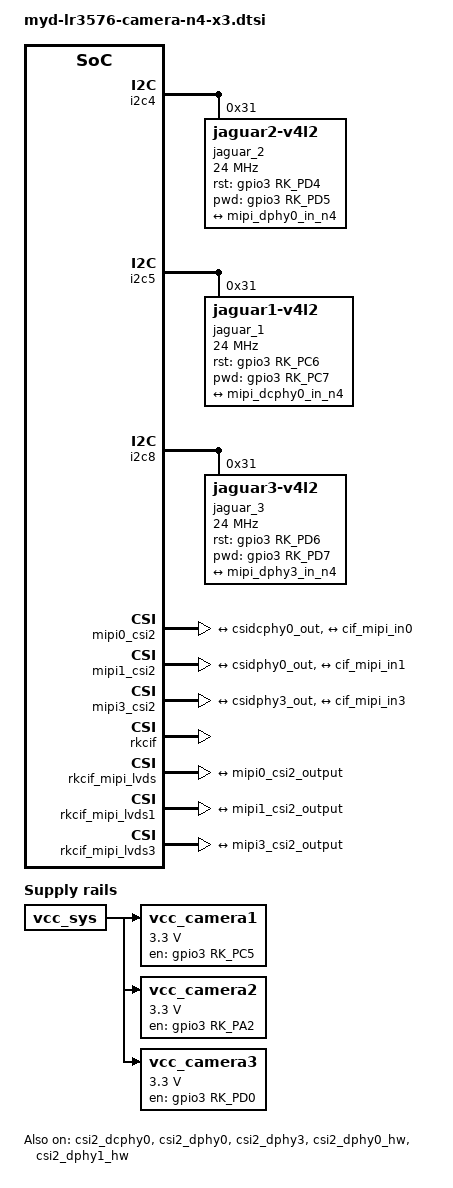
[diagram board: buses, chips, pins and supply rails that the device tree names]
// SPDX-License-Identifier: (GPL-2.0+ OR MIT)
/*
 * Copyright (c) 2024 MYIR Electronics Co., Ltd.
 *
 */

/ {
	vcc_camera1: vcc-camera1 {
		compatible = "regulator-fixed";
		regulator-name = "vcc_camera1";
		regulator-boot-on;
		regulator-always-on;
		regulator-min-microvolt = <3300000>;
		regulator-max-microvolt = <3300000>;
		enable-active-high;
		gpio = <&gpio3 RK_PC5 GPIO_ACTIVE_HIGH>;
		pinctrl-names = "default";
		pinctrl-0 = <&camera1_pwr>;
		vin-supply = <&vcc_sys>;
	};

	clk_camera1_fixed: clock {
		compatible = "fixed-clock";
		#clock-cells = <0>;
		clock-frequency = <24000000>;
		clock-output-names = "CLK_CAMERA1_24MHZ";
	};

	vcc_camera2: vcc-camera2 {
		compatible = "regulator-fixed";
		regulator-name = "vcc_camera2";
		regulator-boot-on;
		regulator-always-on;
		regulator-min-microvolt = <3300000>;
		regulator-max-microvolt = <3300000>;
		enable-active-high;
		gpio = <&gpio3 RK_PA2 GPIO_ACTIVE_HIGH>;
		pinctrl-names = "default";
		pinctrl-0 = <&camera2_pwr>;
		vin-supply = <&vcc_sys>;
	};

	clk_camera2_fixed: clock {
		compatible = "fixed-clock";
		#clock-cells = <0>;
		clock-frequency = <24000000>;
		clock-output-names = "CLK_CAMERA2_24MHZ";
	};

	vcc_camera3: vcc-camera3 {
		compatible = "regulator-fixed";
		regulator-name = "vcc_camera3";
		regulator-boot-on;
		regulator-always-on;
		regulator-min-microvolt = <3300000>;
		regulator-max-microvolt = <3300000>;
		enable-active-high;
		gpio = <&gpio3 RK_PD0 GPIO_ACTIVE_HIGH>;
		pinctrl-names = "default";
		pinctrl-0 = <&camera3_pwr>;
		vin-supply = <&vcc_sys>;
	};

	clk_camera3_fixed: clock {
		compatible = "fixed-clock";
		#clock-cells = <0>;
		clock-frequency = <24000000>;
		clock-output-names = "CLK_CAMERA3_24MHZ";
	};
};

&csi2_dcphy0 {
	status = "okay";

	ports {
		#address-cells = <1>;
		#size-cells = <0>;
		port@0 {
			reg = <0>;
			#address-cells = <1>;
			#size-cells = <0>;

			mipi_dcphy0_in_n4: endpoint@1 {
				reg = <1>;
				remote-endpoint = <&n4_out1>;
				data-lanes = <1 2 3 4>;
			};
		};
		port@1 {
			reg = <1>;
			#address-cells = <1>;
			#size-cells = <0>;

			csidcphy0_out: endpoint@0 {
				reg = <0>;
				remote-endpoint = <&mipi0_csi2_input>;
			};
		};
	};
};

&csi2_dphy0 {
	status = "okay";

	ports {
		#address-cells = <1>;
		#size-cells = <0>;
		port@0 {
			reg = <0>;
			#address-cells = <1>;
			#size-cells = <0>;

			mipi_dphy0_in_n4: endpoint@1 {
				reg = <1>;
				remote-endpoint = <&n4_out2>;
				data-lanes = <1 2 3 4>;
			};
		};
		port@1 {
			reg = <1>;
			#address-cells = <1>;
			#size-cells = <0>;

			csidphy0_out: endpoint@0 {
				reg = <0>;
				remote-endpoint = <&mipi1_csi2_input>;
			};
		};
	};
};

&csi2_dphy3 {
	status = "okay";

	ports {
		#address-cells = <1>;
		#size-cells = <0>;
		port@0 {
			reg = <0>;
			#address-cells = <1>;
			#size-cells = <0>;

			mipi_dphy3_in_n4: endpoint@1 {
				reg = <1>;
				remote-endpoint = <&n4_out3>;
				data-lanes = <1 2 3 4>;
			};
		};
		port@1 {
			reg = <1>;
			#address-cells = <1>;
			#size-cells = <0>;

			csidphy3_out: endpoint@0 {
				reg = <0>;
				remote-endpoint = <&mipi3_csi2_input>;
			};
		};
	};
};

&csi2_dphy0_hw {
	status = "okay";
};

&csi2_dphy1_hw {
	status = "okay";
};

&i2c4 {
	status = "okay";
	pinctrl-names = "default";
	pinctrl-0 = <&i2c4m3_xfer>;

	jaguar_2: jaguar-2@31 {
		status = "okay";
		compatible = "jaguar2-v4l2";
		reg = <0x31>;
		clocks = <&clk_camera2_fixed>;
		clock-names = "xvclk";
		clock-frequency = <24000000>;
		power-domains = <&power RK3576_PD_VI>;
		pinctrl-names = "default";
		pinctrl-0 = <&camera2_default_pins>;
		rst-gpios = <&gpio3 RK_PD4 GPIO_ACTIVE_HIGH>;
		pwd-gpios = <&gpio3 RK_PD5 GPIO_ACTIVE_HIGH>;
		rockchip,camera-module-index = <0>;
		rockchip,camera-module-facing = "back";
		rockchip,camera-module-name = "default";
		rockchip,camera-module-lens-name = "default";
		rockchip,default_rect= <1920 1080>; // default resolution
		port {
			n4_out2: endpoint {
				remote-endpoint = <&mipi_dphy0_in_n4>;
				data-lanes = <1 2 3 4>;
			};
		};
	};
};

&i2c5 {
	status = "okay";
	pinctrl-names = "default";
	pinctrl-0 = <&i2c5m3_xfer>;

	jaguar_1: jaguar-1@31 {
		status = "okay";
		compatible = "jaguar1-v4l2";
		reg = <0x31>;
		clocks = <&clk_camera1_fixed>;
		clock-names = "xvclk";
		clock-frequency = <24000000>;
		power-domains = <&power RK3576_PD_VI>;
		pinctrl-names = "default";
		pinctrl-0 = <&camera1_default_pins>;
		rst-gpios = <&gpio3 RK_PC6 GPIO_ACTIVE_HIGH>;
		pwd-gpios = <&gpio3 RK_PC7 GPIO_ACTIVE_HIGH>;
		rockchip,camera-module-index = <0>;
		rockchip,camera-module-facing = "back";
		rockchip,camera-module-name = "default";
		rockchip,camera-module-lens-name = "default";
		rockchip,default_rect= <1920 1080>; // default resolution
		port {
			n4_out1: endpoint {
				remote-endpoint = <&mipi_dcphy0_in_n4>;
				data-lanes = <1 2 3 4>;
			};
		};
	};
};

&i2c8 {
	status = "okay";
	pinctrl-names = "default";
	pinctrl-0 = <&i2c8m2_xfer>;

	jaguar_3: jaguar-3@31 {
		status = "okay";
		compatible = "jaguar3-v4l2";
		reg = <0x31>;
		clocks = <&clk_camera3_fixed>;
		clock-names = "xvclk";
		clock-frequency = <24000000>;
		power-domains = <&power RK3576_PD_VI>;
		pinctrl-names = "default";
		pinctrl-0 = <&camera3_default_pins>;
		rst-gpios = <&gpio3 RK_PD6 GPIO_ACTIVE_HIGH>;
		pwd-gpios = <&gpio3 RK_PD7 GPIO_ACTIVE_HIGH>;
		rockchip,camera-module-index = <0>;
		rockchip,camera-module-facing = "back";
		rockchip,camera-module-name = "default";
		rockchip,camera-module-lens-name = "default";
		rockchip,default_rect= <1920 1080>; // default resolution

		port {
			n4_out3: endpoint {
				remote-endpoint = <&mipi_dphy3_in_n4>;
				data-lanes = <1 2 3 4>;
			};
		};
	};
};

&mipi0_csi2 {
	status = "okay";

	ports {
		#address-cells = <1>;
		#size-cells = <0>;

		port@0 {
			reg = <0>;
			#address-cells = <1>;
			#size-cells = <0>;

			mipi0_csi2_input: endpoint@1 {
				reg = <1>;
				remote-endpoint = <&csidcphy0_out>;
			};
		};

		port@1 {
			reg = <1>;
			#address-cells = <1>;
			#size-cells = <0>;

			mipi0_csi2_output: endpoint@0 {
				reg = <0>;
				remote-endpoint = <&cif_mipi_in0>;
			};
		};
	};
};

&mipi1_csi2 {
	status = "okay";

	ports {
		#address-cells = <1>;
		#size-cells = <0>;

		port@0 {
			reg = <0>;
			#address-cells = <1>;
			#size-cells = <0>;

			mipi1_csi2_input: endpoint@1 {
				reg = <1>;
				remote-endpoint = <&csidphy0_out>;
			};
		};

		port@1 {
			reg = <1>;
			#address-cells = <1>;
			#size-cells = <0>;

			mipi1_csi2_output: endpoint@0 {
				reg = <0>;
				remote-endpoint = <&cif_mipi_in1>;
			};
		};
	};
};

&mipi3_csi2 {
	status = "okay";

	ports {
		#address-cells = <1>;
		#size-cells = <0>;

		port@0 {
			reg = <0>;
			#address-cells = <1>;
			#size-cells = <0>;

			mipi3_csi2_input: endpoint@1 {
				reg = <1>;
				remote-endpoint = <&csidphy3_out>;
			};
		};

		port@1 {
			reg = <1>;
			#address-cells = <1>;
			#size-cells = <0>;

			mipi3_csi2_output: endpoint@0 {
				reg = <0>;
				remote-endpoint = <&cif_mipi_in3>;
			};
		};
	};
};

&pinctrl {
	camera1_pwr {
		camera1_pwr: camera1-pwr {
			rockchip,pins =
				/* camera power en */
				<3 RK_PC5 RK_FUNC_GPIO &pcfg_pull_none>;
		};
	};

	camera1_default_pins {
		camera1_default_pins: camera1-default-pins {
			rockchip,pins =
				<3 RK_PC6 RK_FUNC_GPIO &pcfg_pull_up>,
				<3 RK_PC7 RK_FUNC_GPIO &pcfg_pull_up>;
		};
	};

	camera1_sleep_pins {
		camera1_sleep_pins: camera1-sleep-pins {
			rockchip,pins =
				<3 RK_PC6 RK_FUNC_GPIO &pcfg_pull_up>,
				<3 RK_PC7 RK_FUNC_GPIO &pcfg_pull_up>;
		};
	};

	camera2_pwr {
		camera2_pwr: camera2-pwr {
			rockchip,pins =
				/* camera power en */
				<3 RK_PA2 RK_FUNC_GPIO &pcfg_pull_none>;
		};
	};

	camera2_default_pins {
		camera2_default_pins: camera2-default-pins {
			rockchip,pins =
				<3 RK_PD4 RK_FUNC_GPIO &pcfg_pull_up>,
				<3 RK_PD5 RK_FUNC_GPIO &pcfg_pull_up>;
		};
	};

	camera2_sleep_pins {
		camera2_sleep_pins: camera2-sleep-pins {
			rockchip,pins =
				<3 RK_PD4 RK_FUNC_GPIO &pcfg_pull_up>,
				<3 RK_PD5 RK_FUNC_GPIO &pcfg_pull_up>;
		};
	};

	camera3_pwr {
		camera3_pwr: camera3-pwr {
			rockchip,pins =
				/* camera power en */
				<3 RK_PD0 RK_FUNC_GPIO &pcfg_pull_none>;
		};
	};

	camera3_default_pins {
		camera3_default_pins: camera3-default-pins {
			rockchip,pins =
				<3 RK_PD6 RK_FUNC_GPIO &pcfg_pull_up>,
				<3 RK_PD7 RK_FUNC_GPIO &pcfg_pull_up>;
		};
	};

	camera3_sleep_pins {
		camera3_sleep_pins: camera3-sleep-pins {
			rockchip,pins =
				<3 RK_PD6 RK_FUNC_GPIO &pcfg_pull_up>,
				<3 RK_PD7 RK_FUNC_GPIO &pcfg_pull_up>;
		};
	};
};

&rkcif {
	status = "okay";
	rockchip,android-usb-camerahal-enable;
};

&rkcif_mipi_lvds {
	status = "okay";

	port {
		cif_mipi_in0: endpoint {
			remote-endpoint = <&mipi0_csi2_output>;
		};
	};
};

&rkcif_mipi_lvds1 {
	status = "okay";

	port {
		cif_mipi_in1: endpoint {
			remote-endpoint = <&mipi1_csi2_output>;
		};
	};
};

&rkcif_mipi_lvds3 {
	status = "okay";

	port {
		cif_mipi_in3: endpoint {
			remote-endpoint = <&mipi3_csi2_output>;
		};
	};
};

&rkcif_mmu {
	status = "okay";
};
